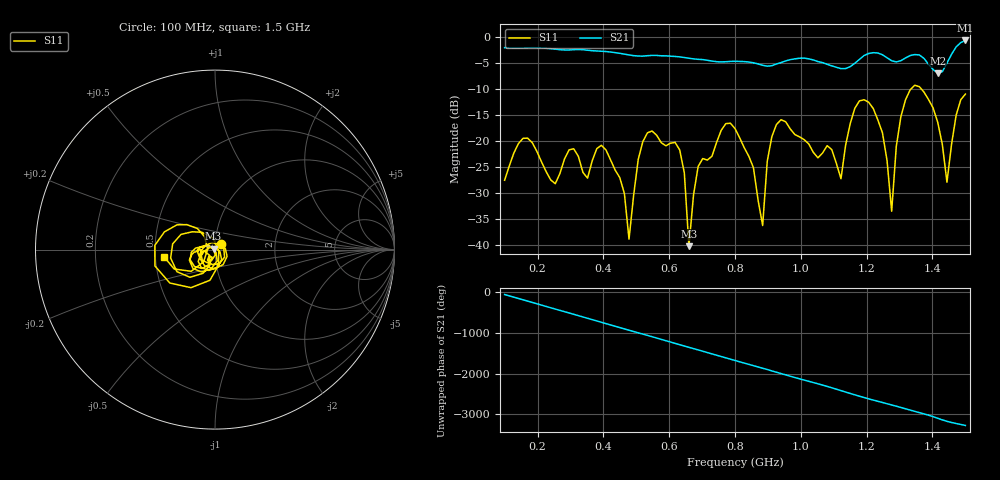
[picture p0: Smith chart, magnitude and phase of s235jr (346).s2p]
! NanoVNA-App
! Date: 2025-09-25 15:06:51
! Start: 100MHz Stop: 1,5GHz Points: 101
! S-Parameter data: F S11 S21 S12 S22
# Hz S RI R 50
!  Frequency  S11_Real  S11_Imag  S21_Real  S21_Imag  S12_Real  S12_Imag  S22_Real  S22_Imag
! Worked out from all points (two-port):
!   101 points, 100 MHz to 1.5 GHz, reference 50 ohm
!   highest |S21| = -0.58 dB at 1.5 GHz (marker M1); lowest = -6.9 dB at 1.416 GHz (marker M2)
!   |S21| within 3 dB of the highest: start of sweep to 508.5 MHz; 521.9 MHz to 598.1 MHz (76.21 MHz wide, 13.6 % of centre) (the widest 2 of 5)
!   lowest |S11| = -40.2 dB at 660 MHz (marker M3), VSWR 1.02, Z = 49.2 + j0.556 ohm
!   |S11| at or under -10 dB: start of sweep to 1.333 GHz; 1.367 GHz to end of sweep
!   S12 and S22 are empty: the file has one direction only
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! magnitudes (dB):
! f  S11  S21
! 100 MHz  -27.5  -2.0
! 156 MHz  -19.4  -2.0
! 338 MHz  -26.0  -2.4
! 408 MHz  -21.7  -2.7
! 478 MHz  -38.8  -3.4
! 520 MHz  -20.0  -3.6
! 576 MHz  -20.3  -3.5
! 632 MHz  -21.6  -3.7
! 660 MHz  -40.2  -4.0
! 688 MHz  -24.8  -4.2
! 800 MHz  -17.5  -4.6
! 884 MHz  -36.2  -5.4
! 926 MHz  -16.7  -5.1
! 1.038 GHz  -22.1  -4.3
! 1.122 GHz  -27.2  -6.0
! 1.206 GHz  -12.5  -3.1
! 1.248 GHz  -18.3  -3.3
! 1.276 GHz  -33.4  -4.5
! 1.332 GHz  -10.1  -3.5
! 1.416 GHz  -16.3  -6.9
! 1.444 GHz  -27.8  -4.9
! 1.5 GHz  -10.9  -0.6
